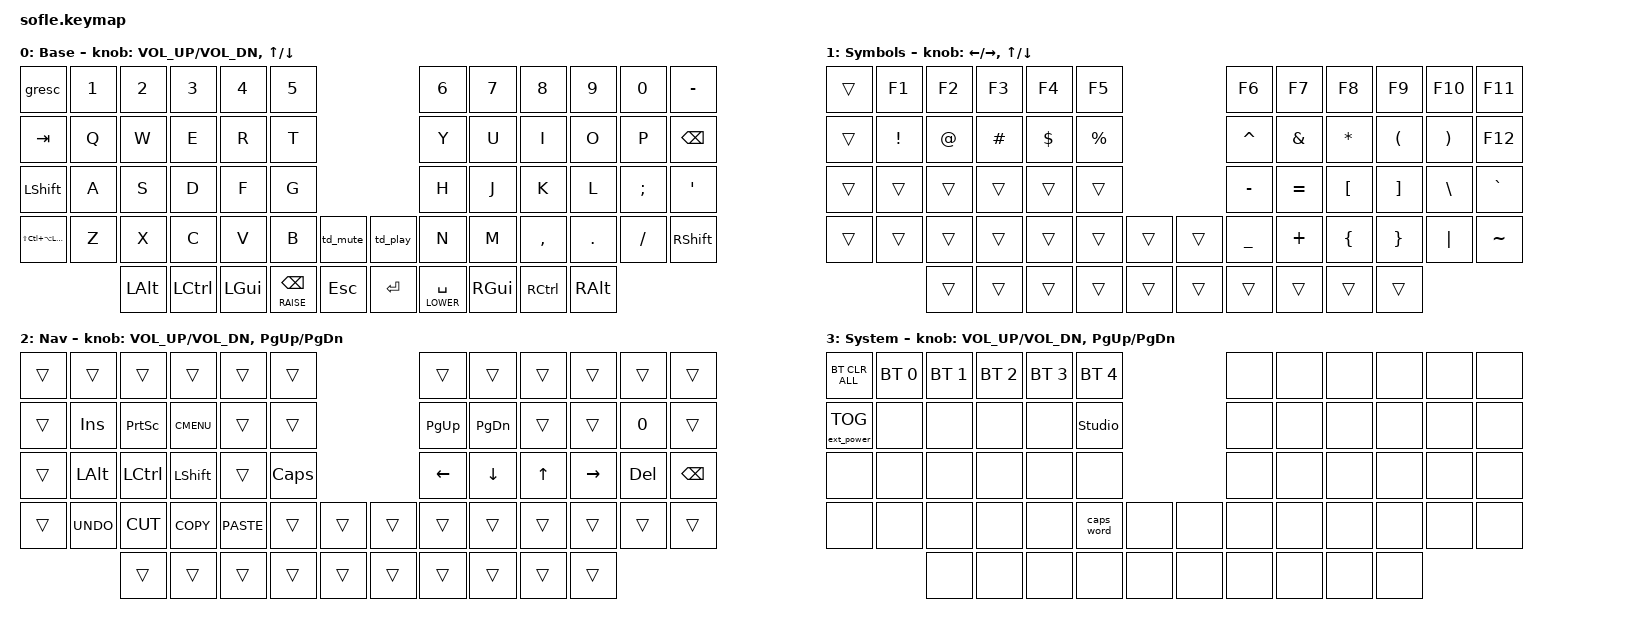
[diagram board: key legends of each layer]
/*
 * Copyright (c) 2020 The ZMK Contributors
 *
 * SPDX-License-Identifier: MIT
 */

#include <behaviors.dtsi>
#include <dt-bindings/zmk/bt.h>
#include <dt-bindings/zmk/ext_power.h>
#include <dt-bindings/zmk/keys.h>
#include <dt-bindings/zmk/pointing.h>

// Encoders

&sensors { triggers-per-rotation = <30>; };

&left_encoder { steps = <60>; };

&right_encoder { steps = <60>; };


#define BASE 0
#define LOWER 1
#define RAISE 2
#define ADJUST 3

/ {
    // Activate ADJUST layer by pressing raise and lower

    conditional_layers {
        compatible = "zmk,conditional-layers";

        adjust_layer {
            if-layers = <LOWER RAISE>;
            then-layer = <ADJUST>;
        };
    };

    combos {
        compatible = "zmk,combos";

        backspace {
            bindings = <&kp BACKSPACE>;
            key-positions = <32 31>;
        };

        delete {
            bindings = <&kp DELETE>;
            key-positions = <27 33>;
        };

        esc {
            bindings = <&kp ESCAPE>;
            key-positions = <25 41>;
        };

        raycast {
            bindings = <&kp LG(SPACE)>;
            key-positions = <25 28>;
        };
    };

    behaviors {
        td_mute: td_mute {
            compatible = "zmk,behavior-tap-dance";
            #binding-cells = <0>;
            tapping-term-ms = <400>;
            bindings = <&kp C_MUTE>, <&kp C_PREV>;
        };

        td_play: td_play {
            compatible = "zmk,behavior-tap-dance";
            #binding-cells = <0>;
            tapping-term-ms = <400>;
            bindings = <&kp C_PLAY_PAUSE>, <&kp C_NEXT>;
        };

        caps: caps {
            compatible = "zmk,behavior-caps-word";
            label = "CAPS";
            #binding-cells = <0>;
            continue-list = <POUND MINUS BACKSPACE UNDERSCORE>;
        };
    };

    keymap {
        compatible = "zmk,keymap";

        default_layer {
            display-name = "Base";

            // ------------------------------------------------------------------------------------------------------------
            // |   `   |  1  |  2  |  3   |  4   |  5   |                   |  6   |  7    |  8    |  9   |   0   |       |
            // |  ESC  |  Q  |  W  |  E   |  R   |  T   |                   |  Y   |  U    |  I    |  O   |   P   | BKSPC |
            // |  TAB  |  A  |  S  |  D   |  F   |  G   |                   |  H   |  J    |  K    |  L   |   ;   |   '   |
            // | SHIFT |  Z  |  X  |  C   |  V   |  B   |  MUTE  |  |       |  N   |  M    |  ,    |  .   |   /   | SHIFT |
            //               | ALT | CTRL  | GUI | BSPC/LOWER|  ESC |  | ENTER | SPC/RAISE| GUI  | CTRL   | ALT  |

            bindings = <
&gresc            &kp N1  &kp N2    &kp N3    &kp N4     &kp N5                                     &kp N6     &kp N7     &kp N8     &kp N9    &kp N0    &kp MINUS
&kp TAB           &kp Q   &kp W     &kp E     &kp R      &kp T                                      &kp Y      &kp U      &kp I      &kp O     &kp P     &kp BSPC
&kp LEFT_SHIFT    &kp A   &kp S     &kp D     &kp F      &kp G                                      &kp H      &kp J      &kp K      &kp L     &kp SEMI  &kp SQT
&kp LS(LC(LA(LGUI)))  &kp Z   &kp X     &kp C     &kp V      &kp B      &td_mute      &td_play          &kp N      &kp M      &kp COMMA  &kp DOT   &kp FSLH  &kp RSHFT
                          &kp LALT  &kp LCTRL  &kp LGUI  &lt RAISE BSPC  &kp ESC     &kp ENTER     &lt LOWER SPACE  &kp RGUI  &kp RCTRL   &kp RALT
            >;

            sensor-bindings = <&inc_dec_kp C_VOL_UP C_VOL_DN &inc_dec_kp UP DOWN>;
        };

        lower_layer {
            display-name = "Symbols";

            // ------------------------------------------------------------------------------------------------------------
            // |       |  F1 |  F2 |  F3  |  F4  |  F5  |                   |  F6  |  F7   |  F8   |  F9  |  F10  |  F11  |
            // |       |  !  |  @  |  #   |  $   |  %   |                   |  ^   |  &    |  *    |  (   |   )   |  F12  |
            // |       |     |     |      |      |      |                   |  -   |  =    |  [    |  ]   |   \   |   `   |
            // |       |     |     |      |      |      |        |  |       |  _   |  +    |  {    |  }   |   |   |   ~   |
            //               |     |      |      |      |        |  |       |      |       |       |      |

            bindings = <
&trans  &kp F1     &kp F2     &kp F3    &kp F4    &kp F5                       &kp F6          &kp F7         &kp F8          &kp F9                &kp F10                &kp F11
&trans  &kp EXCL   &kp AT     &kp HASH  &kp DLLR  &kp PRCNT                    &kp CARET       &kp AMPERSAND  &kp ASTRK       &kp LEFT_PARENTHESIS  &kp RIGHT_PARENTHESIS  &kp F12
&trans  &trans     &trans     &trans    &trans    &trans                       &kp MINUS       &kp EQUAL      &kp LEFT_BRACKET  &kp RIGHT_BRACKET   &kp BSLH               &kp GRAVE
&trans  &trans     &trans     &trans    &trans    &trans     &trans    &trans  &kp UNDERSCORE  &kp PLUS       &kp LEFT_BRACE  &kp RIGHT_BRACE       &kp PIPE               &kp TILDE
                   &trans     &trans    &trans    &trans     &trans    &trans  &trans          &trans         &trans          &trans
            >;

            sensor-bindings =
                <&inc_dec_kp LEFT_ARROW RIGHT_ARROW>,
                <&inc_dec_kp UP_ARROW DOWN_ARROW>;
        };

        raise_layer {
            display-name = "Nav";

            // ------------------------------------------------------------------------------------------------------------
            // | BTCLR | BT1  | BT2  |  BT3  |  BT4  |  BT5 |                |      |      |       |      |       |       |
            // |       | INS  | PSCR | GUI   |       |      |                | PGUP | PGDN  |       |      |       |       |
            // |       | ALT  | CTRL | SHIFT |       | CAPS |                |  <-  |   v   |   ^   |  ->  |  DEL  | BKSPC |
            // |       | UNDO | CUT  | COPY  | PASTE |      |      |  |      |      |       |       |      |       |       |
            //                |      |       |       |      |      |  |      |      |       |       |      |

            bindings = <
&trans  &trans      &trans     &trans       &trans       &trans                      &trans     &trans     &trans  &trans     &trans   &trans
&trans  &kp INS     &kp PSCRN  &kp K_CMENU  &trans       &trans                      &kp PG_UP  &kp PG_DN  &trans  &trans     &kp N0   &trans
&trans  &kp LALT    &kp LCTRL  &kp LSHFT    &trans       &kp CLCK                    &kp LEFT   &kp DOWN   &kp UP  &kp RIGHT  &kp DEL  &kp BSPC
&trans  &kp K_UNDO  &kp K_CUT  &kp K_COPY   &kp K_PASTE  &trans    &trans    &trans  &trans     &trans    &trans    &trans     &trans   &trans
                    &trans     &trans       &trans       &trans    &trans    &trans  &trans     &trans    &trans    &trans
            >;

            sensor-bindings = <&inc_dec_kp C_VOL_UP C_VOL_DN &inc_dec_kp PG_UP PG_DN>;
        };

        adjust_layer {
            // ----------------------------------------------------------------------------------------------------------------------------
            // | BTCLR  |  BT1    |  BT2    |   BT3   |   BT4   |   BT5   |                  |      |      |       |      |       |       |
            // | EXTPWR | RGB_HUD | RGB_HUI | RGB_SAD | RGB_SAI | RGB_EFF |                  |      |      |       |      |       |       |
            // |        | RGB_BRD | RGB_BRI |         |         |         |                  |      |      |       |      |       |       |
            // |        |         |         |         |         |         | RGB_TOG | |      |      |      |       |      |       |       |
            //                    |         |         |         |         |         | |      |      |      |       |      |

            display-name = "System";
            bindings = <
&bt BT_CLR_ALL     &bt BT_SEL 0  &bt BT_SEL 1  &bt BT_SEL 2  &bt BT_SEL 3  &bt BT_SEL 4                  &none  &none  &none  &none  &none  &none
&ext_power EP_TOG  &none         &none         &none         &none         &studio_unlock                         &none  &none  &none  &none  &none  &none
&none              &none         &none         &none         &none         &none                         &none  &none  &none  &none  &none  &none
&none              &none         &none         &none         &none         &caps_word    &none    &none  &none  &none  &none  &none  &none  &none
                                 &none         &none         &none         &none         &none    &none  &none  &none  &none  &none
            >;

            sensor-bindings = <&inc_dec_kp C_VOL_UP C_VOL_DN &inc_dec_kp PG_UP PG_DN>;
        };
    };
};
